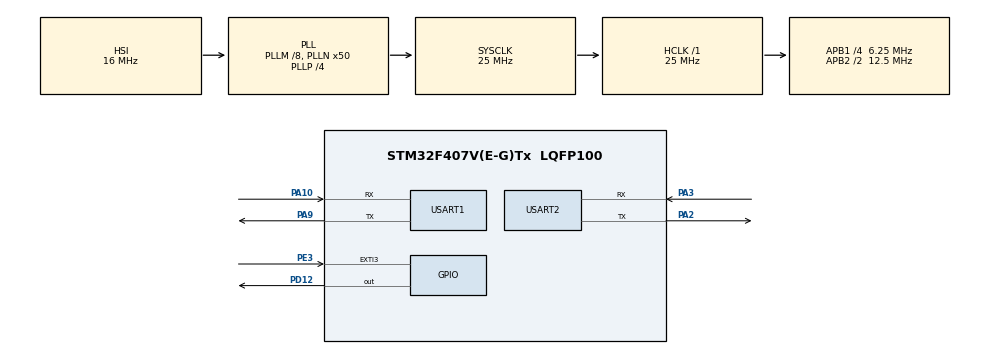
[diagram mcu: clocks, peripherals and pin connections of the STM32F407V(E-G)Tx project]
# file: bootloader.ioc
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Mcu.Family=STM32F4
Mcu.Name=STM32F407V(E-G)Tx
Mcu.Package=LQFP100
NVIC.PriorityGroup=NVIC_PRIORITYGROUP_0
PA10.Mode=Asynchronous
PA10.Signal=USART1_RX
PA2.Mode=Asynchronous
PA2.Signal=USART2_TX
PA3.Mode=Asynchronous
PA3.Signal=USART2_RX
PA9.Mode=Asynchronous
PA9.Signal=USART1_TX
PD12.Signal=GPIO_Output
PE3.Signal=GPXTI3
ProjectManager.HeapSize=0x200
ProjectManager.StackSize=0x400
ProjectManager.TargetToolchain=STM32CubeIDE
RCC.48MHZClocksFreq_Value=14285714.285714285
RCC.AHBFreq_Value=25000000
RCC.APB1CLKDivider=RCC_HCLK_DIV4
RCC.APB1Freq_Value=6250000
RCC.APB1TimFreq_Value=12500000
RCC.APB2CLKDivider=RCC_HCLK_DIV2
RCC.APB2Freq_Value=12500000
RCC.APB2TimFreq_Value=25000000
RCC.CortexFreq_Value=25000000
RCC.HCLKFreq_Value=25000000
RCC.HSE_VALUE=8000000
RCC.HSI_VALUE=16000000
RCC.LSE_VALUE=32768
RCC.PLLM=8
RCC.PLLN=50
RCC.PLLP=RCC_PLLP_DIV4
RCC.PLLQ=7
RCC.SYSCLKFreq_VALUE=25000000
RCC.SYSCLKSource=RCC_SYSCLKSOURCE_PLLCLK
RCC.VCOOutputFreq_Value=100000000
USART1.VirtualMode=VM_ASYNC
USART2.VirtualMode=VM_ASYNC
board=STM32F407G-DISC1

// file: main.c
/* USER CODE BEGIN Header */
/**
  ******************************************************************************
  * @file           : main.c
  * @brief          : Main program body
  ******************************************************************************
  * @attention
  *
  * Copyright (c) 2024 STMicroelectronics.
  * All rights reserved.
  *
  * This software is licensed under terms that can be found in the LICENSE file
  * in the root directory of this software component.
  * If no LICENSE file comes with this software, it is provided AS-IS.
  *
  ******************************************************************************
  */
/* USER CODE END Header */
#include "main.h"

/* USER CODE BEGIN Includes */
#include<stdio.h>
#include<string.h>
#include<stdlib.h>
/* USER CODE END Includes */

/* USER CODE BEGIN PM */
#define MAJOR 0   // BL Major version Number
#define MINOR 1   // BL Minor version Number

#define BOOTLOADER_SIZE        0x80000000  // 64 KB
#define APPLICATION_SLOT_START 0x08010000  // Start of Application Slot
#define FIRMWARE_SLOT_START    0x08040000  // Start of Firmware Slot
#define FIRMWARE_SLOT_SIZE     0x00040000  // 224 KB
#define CHUNK_SIZE             256     // Size of data chunk to be received
#define FLASH_SECTOR_SIZE      0x80000000 // 64 KB size for the sector
#define APPLICATION_SLOT_SIZE  0x08010000 //
#define STORED_CRC_OFFSET    (FIRMWARE_SLOT_START + FLASH_SECTOR_SIZE - 4)
/* USER CODE END PM */

UART_HandleTypeDef huart1;
UART_HandleTypeDef huart2;
extern CRC_HandleTypeDef hcrc;
/* USER CODE BEGIN PV */
const uint8_t BL_Version[2] = {MAJOR, MINOR};
uint8_t RxBuffer[1024];
int flag=0;
uint8_t ResponseHeader[8];
int chunk_check;
uint8_t SizeHeader[32];
int res;
int myflag = 0;
int size = 0;
char* occurrence;
uint8_t buffer[CHUNK_SIZE];
uint8_t last_buffer[CHUNK_SIZE];/* USER CODE END PV */

void SystemClock_Config(void);
static void MX_GPIO_Init(void);
static void MX_USART1_UART_Init(void);
static void MX_USART2_UART_Init(void);

/* USER CODE BEGIN 0 */
static void goto_application(void);

void HAL_GPIO_EXTI_Callback(uint16_t GPIO_Pin)
{
	flag = 1;
}

uint32_t get_sector_size(uint32_t sector)
{
    if (sector < 4)
    { // Sectors 0-3 are 16KB each
        return 0x4000;
    }

    else if (sector == 4)
    { // Sector 4 is 64KB
        return 0x10000;
    }

    else
    { // Sectors 5 and above are 128KB each
        return 0x20000;
    }
}

uint32_t get_sector_number(uint32_t address)
{
    if (address < 0x08004000)
    { // Sectors 0-3 are 16KB each
        return (address - 0x08000000) / 0x4000;
    }
    else if (address < 0x08008000)
    { // Sector 4 is 64KB
        return 4;
    }
    else
    { // Sectors 5 and above are 128KB each
        return 5 + (address - 0x08008000) / 0x20000;
    }
}

void erase_flash(uint32_t start_address, uint32_t end_address)
{
    /*HAL_FLASH_Unlock();
    FLASH_EraseInitTypeDef eraseInit;
    uint32_t pageError = 0;
eraseInit.TypeErase = FLASH_TYPEERASE_SECTORS;
    eraseInit.Sector = FLASH_SECTOR_6; // Assuming sector 4 onward is used
    eraseInit.NbSectors = 6; // Erase sectors based on your flash organization
    eraseInit.VoltageRange = FLASH_VOLTAGE_RANGE_3;

    HAL_FLASHEx_Erase(&eraseInit, &pageError);
    HAL_FLASH_Lock();*/

    HAL_FLASH_Unlock();
    FLASH_EraseInitTypeDef eraseInit;
    uint32_t sectorError = 0;

    eraseInit.TypeErase = FLASH_TYPEERASE_SECTORS;
    eraseInit.VoltageRange = FLASH_VOLTAGE_RANGE_3;
    eraseInit.NbSectors = 1; // Erase one sector at a time

    uint32_t current_address = start_address;

    while (current_address < end_address) {
        // Calculate the current sector number based on the address
        uint32_t sector = get_sector_number(current_address);
        // Set the sector to erase
                eraseInit.Sector = sector;

                // Perform the erase operation
                if (HAL_FLASHEx_Erase(&eraseInit, &sectorError) != HAL_OK) {
                    // Handle the error
                    printf("Error erasing sector %lu\n", sector);
                    break;
                }

                // Move to the next sector based on the size of the current sector
                current_address += get_sector_size(sector);
            }

            HAL_FLASH_Lock();

        }
uint8_t receive_chunk(uint8_t* buffer , uint32_t length)
{
	static int i=0;
	printf("receiving chunk : %d\r\n", i++);
	chunk_check = HAL_UART_Receive(&huart1, buffer, length , HAL_MAX_DELAY);
	return chunk_check;
}

void write_chunk_to_flash(uint32_t address, uint8_t* data, uint32_t length) {

	HAL_FLASH_Unlock();
    for (uint32_t i = 0; i < length; i++)
    {
        //uint32_t word = *((uint32_t*)(data + i));
        HAL_FLASH_Program(FLASH_TYPEPROGRAM_BYTE, address + i , data[i]);
        printf("Writing chunk to flash[%d/%d]\r\n", i, length);
        //address = address+4;
    }
    HAL_FLASH_Lock();
}

int8_t verify_firmware(void)
{
    // Simple verification for demonstration (e.g., checksum or CRC)
    uint32_t calculated_crc = 0;
    uint32_t firmware_length = FLASH_SECTOR_SIZE - 4;  // exclude stored CRC

    // Reset CRC data register
    HAL_CRC_DeInit(&hcrc);
    HAL_CRC_Init(&hcrc);

    // Compute CRC word by word
    calculated_crc = HAL_CRC_Calculate(&hcrc, (uint32_t *)FIRMWARE_SLOT_START, firmware_length / 4);

    // Read expected CRC from last 4 bytes of firmware
    uint32_t expected_crc = *(uint32_t *)(STORED_CRC_OFFSET);

    return (calculated_crc == expected_crc) ? 1 : 0;  // Assuming verification is successful
}

uint8_t receive_firmware(void)
{
    uint32_t flash_address = FIRMWARE_SLOT_START;
    erase_flash(FIRMWARE_SLOT_START, FIRMWARE_SLOT_START + FIRMWARE_SLOT_SIZE); // Example size
    HAL_UART_Transmit(&huart1, (uint8_t *)"START\n", strlen("START\n"), HAL_MAX_DELAY); // sending to the esp
    HAL_UART_Transmit(&huart2, (uint8_t *)"START\r\n", strlen("START\r\n"), HAL_MAX_DELAY); // sending to the terminal for
    //int count = 0;

    uint32_t total_firmware_size = 0;
    uint32_t received_bytes = 0;
    // Step 1: Receive the total firmware size
    if (receive_chunk((uint8_t *)&total_firmware_size, sizeof(total_firmware_size)) != HAL_OK)
    	{
         	 printf("Error receiving firmware size\r\n");
             return 0;
        }
    printf("Total firmware size: %lu bytes\r\n", total_firmware_size);

    uint32_t remaining_bytes = total_firmware_size;
    while (remaining_bytes > 0)
    	{
        	uint32_t bytes_to_receive = (remaining_bytes < CHUNK_SIZE) ? remaining_bytes : CHUNK_SIZE;

            if (receive_chunk(buffer, bytes_to_receive) != HAL_OK)
            {
                printf("Receive chunk error\r\n");
                return 0;
            }

            // Write the current chunk to flash memory
            write_chunk_to_flash(flash_address, buffer, bytes_to_receive);
            flash_address += bytes_to_receive;

            // Update counters
            received_bytes += bytes_to_receive;
            remaining_bytes -= bytes_to_receive;

            memset(buffer, 0, sizeof(buffer));

            if (remaining_bytes == 0)
            	{
                	printf("All firmware data received.\r\n");
                    break;
                }

          }
    if (verify_firmware())
    {
        // Assuming that the application slot needs to be erased before writing
        //erase_flash(APPLICATION_SLOT_START, APPLICATION_SLOT_START + APPLICATION_SLOT_SIZE);

        flash_address = FIRMWARE_SLOT_START;
        uint32_t app_address = APPLICATION_SLOT_START;
        remaining_bytes = total_firmware_size;

        while(remaining_bytes > 0)
        {
            uint32_t bytes_to_copy = (remaining_bytes < CHUNK_SIZE) ? remaining_bytes : CHUNK_SIZE;

            // Copy the data from firmware slot to the application slot
            memset((void*)buffer, 0, sizeof(buffer));
            memcpy(buffer, (uint8_t*)flash_address, bytes_to_copy);
            write_chunk_to_flash(app_address, buffer, bytes_to_copy);

            // Update the addresses and remaining bytes
            flash_address += bytes_to_copy;
            app_address += bytes_to_copy;
            remaining_bytes -= bytes_to_copy;

            //            memset(buffer, 0, sizeof(buffer));
         }

           // Once the copy is complete, jump to the application
             goto_application();
      }

      else
      {
         return 0;
      }

      	  return 1;

     }

/* USER CODE END 0 */

int main(void)
{

  /* MCU Configuration--------------------------------------------------------*/

  /* Reset of all peripherals, Initializes the Flash interface and the Systick. */
  HAL_Init();

  /* Configure the system clock */
  SystemClock_Config();

  /* Initialize all configured peripherals */
  MX_GPIO_Init();
  MX_USART1_UART_Init();
  MX_USART2_UART_Init();
  /* USER CODE BEGIN 2 */
  // Turn ON the Green Led to tell the user that Bootloader is running
    HAL_GPIO_WritePin(GPIOD, GPIO_PIN_12, GPIO_PIN_SET );    //Green LED ON
    printf("Starting Bootloader(%d.%d)\n", BL_Version[0], BL_Version[1] );
    HAL_Delay(2000);   //2sec delay for nothing

    // Jump to application
   // goto_application();
  /* USER CODE END 2 */

  /* Infinite loop */
  while (1)
  {

    /* USER CODE BEGIN 3 */
	  if(flag == 1)
	  	{
	  		  //DOWNLOAD THE CODE AND WRITE INTO THE FLASH TO APPLICATION
	  		  HAL_UART_Transmit(&huart1, (uint8_t*)"AT+CHECK_UPDATE\n",strlen("AT+CHECK_UPDATE\n"), HAL_MAX_DELAY);
	  		  HAL_UART_Transmit(&huart2, (uint8_t*)"AT+CHECK_UPDATE\r\n",strlen("AT+CHECK_UPDATE\r\n"), HAL_MAX_DELAY);
	  		  //HAL_Delay(1000);
	  		  memset((void*)ResponseHeader,0, sizeof(ResponseHeader));
	  		  memset((void*)SizeHeader,0, sizeof(SizeHeader));
	  		  HAL_UART_Receive(&huart1, ResponseHeader, sizeof(ResponseHeader), 5000);
	  		  snprintf((char *)SizeHeader, sizeof(SizeHeader), "Response : %s\r\n", ResponseHeader);
	  		  HAL_UART_Transmit(&huart2, SizeHeader,sizeof(SizeHeader), HAL_MAX_DELAY);

	  		 // HAL_UART_Transmit(&huart2, ResponseHeader,sizeof(ResponseHeader), HAL_MAX_DELAY);
	  		  HAL_Delay(1000);
	  		  res = strcmp((char *)ResponseHeader,"YES");
	  		  if(strncmp((char *)ResponseHeader, "YES", 3) == 0)
	  		  {
	  			  receive_firmware();
	  			  flag = 0;
	  		  }
			  else if(strncmp((char *)ResponseHeader, "NO", 2) == 0)
			  {
				  flag = 0;
				  goto_application();
			  }

			  flag = 0;
			  goto_application();
		}
  }

  /* USER CODE END 3 */
}

void SystemClock_Config(void)
{
  RCC_OscInitTypeDef RCC_OscInitStruct = {0};
  RCC_ClkInitTypeDef RCC_ClkInitStruct = {0};

  /** Configure the main internal regulator output voltage
  */
  __HAL_RCC_PWR_CLK_ENABLE();
  __HAL_PWR_VOLTAGESCALING_CONFIG(PWR_REGULATOR_VOLTAGE_SCALE1);

  /** Initializes the RCC Oscillators according to the specified parameters
  * in the RCC_OscInitTypeDef structure.
  */
  RCC_OscInitStruct.OscillatorType = RCC_OSCILLATORTYPE_HSI;
  RCC_OscInitStruct.HSIState = RCC_HSI_ON;
  RCC_OscInitStruct.HSICalibrationValue = RCC_HSICALIBRATION_DEFAULT;
  RCC_OscInitStruct.PLL.PLLState = RCC_PLL_ON;
  RCC_OscInitStruct.PLL.PLLSource = RCC_PLLSOURCE_HSI;
  RCC_OscInitStruct.PLL.PLLM = 8;
  RCC_OscInitStruct.PLL.PLLN = 50;
  RCC_OscInitStruct.PLL.PLLP = RCC_PLLP_DIV4;
  RCC_OscInitStruct.PLL.PLLQ = 7;
  if (HAL_RCC_OscConfig(&RCC_OscInitStruct) != HAL_OK)
  {
    Error_Handler();
  }

  /** Initializes the CPU, AHB and APB buses clocks
  */
  RCC_ClkInitStruct.ClockType = RCC_CLOCKTYPE_HCLK|RCC_CLOCKTYPE_SYSCLK
                              |RCC_CLOCKTYPE_PCLK1|RCC_CLOCKTYPE_PCLK2;
  RCC_ClkInitStruct.SYSCLKSource = RCC_SYSCLKSOURCE_PLLCLK;
  RCC_ClkInitStruct.AHBCLKDivider = RCC_SYSCLK_DIV1;
  RCC_ClkInitStruct.APB1CLKDivider = RCC_HCLK_DIV4;
  RCC_ClkInitStruct.APB2CLKDivider = RCC_HCLK_DIV2;

  if (HAL_RCC_ClockConfig(&RCC_ClkInitStruct, FLASH_LATENCY_0) != HAL_OK)
  {
    Error_Handler();
  }
}

static void MX_USART1_UART_Init(void)
{

  huart1.Instance = USART1;
  huart1.Init.BaudRate = 115200;
  huart1.Init.WordLength = UART_WORDLENGTH_8B;
  huart1.Init.StopBits = UART_STOPBITS_1;
  huart1.Init.Parity = UART_PARITY_NONE;
  huart1.Init.Mode = UART_MODE_TX_RX;
  huart1.Init.HwFlowCtl = UART_HWCONTROL_NONE;
  huart1.Init.OverSampling = UART_OVERSAMPLING_16;
  if (HAL_UART_Init(&huart1) != HAL_OK)
  {
    Error_Handler();
  }

}

static void MX_USART2_UART_Init(void)
{

  huart2.Instance = USART2;
  huart2.Init.BaudRate = 115200;
  huart2.Init.WordLength = UART_WORDLENGTH_8B;
  huart2.Init.StopBits = UART_STOPBITS_1;
  huart2.Init.Parity = UART_PARITY_NONE;
  huart2.Init.Mode = UART_MODE_TX_RX;
  huart2.Init.HwFlowCtl = UART_HWCONTROL_NONE;
  huart2.Init.OverSampling = UART_OVERSAMPLING_16;
  if (HAL_UART_Init(&huart2) != HAL_OK)
  {
    Error_Handler();
  }

}

static void MX_GPIO_Init(void)
{
  GPIO_InitTypeDef GPIO_InitStruct = {0};

  /* GPIO Ports Clock Enable */
  __HAL_RCC_GPIOE_CLK_ENABLE();
  __HAL_RCC_GPIOA_CLK_ENABLE();
  __HAL_RCC_GPIOD_CLK_ENABLE();

  /*Configure GPIO pin Output Level */
  HAL_GPIO_WritePin(GPIOD, GPIO_PIN_12, GPIO_PIN_RESET);

  /*Configure GPIO pin : PE3 */
  GPIO_InitStruct.Pin = GPIO_PIN_3;
  GPIO_InitStruct.Mode = GPIO_MODE_IT_RISING;
  GPIO_InitStruct.Pull = GPIO_NOPULL;
  HAL_GPIO_Init(GPIOE, &GPIO_InitStruct);

  /*Configure GPIO pin : PD12 */
  GPIO_InitStruct.Pin = GPIO_PIN_12;
  GPIO_InitStruct.Mode = GPIO_MODE_OUTPUT_PP;
  GPIO_InitStruct.Pull = GPIO_NOPULL;
  GPIO_InitStruct.Speed = GPIO_SPEED_FREQ_LOW;
  HAL_GPIO_Init(GPIOD, &GPIO_InitStruct);

}

/* USER CODE BEGIN 4 */
#ifdef __GNUC__
  /* With GCC, small printf (option LD Linker->Libraries->Small printf
     set to 'Yes') calls __io_putchar() */
int __io_putchar(int ch)
#else
int fputc(int ch, FILE *f)
#endif /* __GNUC__ */
{
  /* Place your implementation of fputc here */
  /* e.g. write a character to the UART3 and Loop until the end of transmission */
  HAL_UART_Transmit(&huart2, (uint8_t *)&ch, 1, HAL_MAX_DELAY);

  return ch;
}

/**
  * @brief Jump to application from the Bootloader
  * @retval None
  */
static void goto_application(void)
{
	printf("Jump to application\r\n");

	// 1. Set the Vector Table Offset Register (VTOR) to the base of the slot
	    SCB->VTOR = APPLICATION_SLOT_START;
	    void (*app_reset_handler)(void) = (void*)(*((volatile uint32_t*) (APPLICATION_SLOT_START + 4U)));

	    // 3. Set the main stack pointer (MSP) to the start value of the slot's vector table
	    __set_MSP(*(__IO uint32_t *)APPLICATION_SLOT_START);

	    app_reset_handler();

//
//	void (*app_reset_handler)(void) = (void*)(*((volatile uint32_t*) (0x08040000 + 4U)));
//
//  // Turn OFF the Green Led to tell the user that Bootloader is not running
//  HAL_GPIO_WritePin(GPIOB, GPIO_PIN_0, GPIO_PIN_RESET );    //Green LED OFF
//
//  /* Reset the Clock */
//  HAL_RCC_DeInit();
//  HAL_DeInit();
//  __set_MSP(*(volatile uint32_t*) 0x08040000);
//  SysTick->CTRL = 0;
//  SysTick->LOAD = 0;
//  SysTick->VAL = 0;

}

/* USER CODE END 4 */

void Error_Handler(void)
{
  __disable_irq();
  while (1)
  {
  }
}
